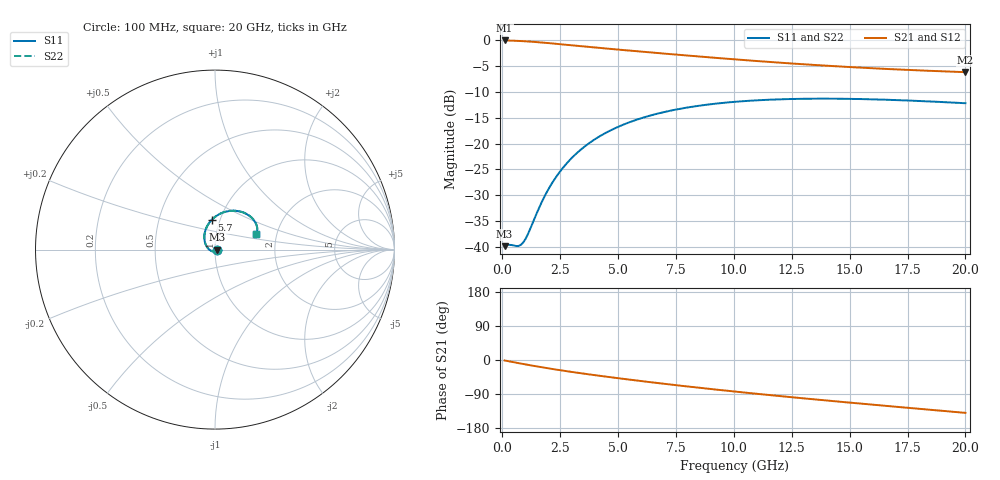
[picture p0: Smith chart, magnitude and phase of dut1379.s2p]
! Touchstone file exported from HFSS 2024.1.0
!  File:  C:/UserFiles/LocalFiles/RDL_TSV_Batchsim/temp_RDL_TSV_1379_1780400668.aedt
!  Generated:  07:59:44 PM Jun  2, 2026
!  Design:  RDL_TSV
!  Project:  temp_RDL_TSV_1379_1780400668
!  Setup:  Setup1
!  Solution:  Sweep
! Variables:
!  dtsv = 8.29um
!  hbump = 3um
!  htsv = 68.6um
!  ldown = 175.21um
!  lrdl = 352.72um
!  p = 40
!  p1 = 41.67um
!  rhole = 10um
!  subl = 1936.51um
!  t = 450um
!  tdown = 2.41um
!  trdl = 4.74um
!  viad = 10um
!  wdown = 14.94um
!  wrdl = 27.08um
!  xbump = 18um
# GHz S MA R 50.000000
! Terminal data exported
! Port[1] = TM1_1_T1
! Port[2] = TM1_4_T1
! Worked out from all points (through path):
!   200 points, 100 MHz to 20 GHz, reference 50 ohm
!   highest |S21| = -0.09 dB at 100 MHz (marker M1); lowest = -6.2 dB at 20 GHz (marker M2)
!   group delay of S21, straight-line fit = 18.5 ps
!   lowest |S11| = -39.8 dB at 100 MHz (marker M3), VSWR 1.02, Z = 51 - j0.105 ohm
!   |S11| at or under -10 dB: start of sweep to end of sweep
!   |S22| runs from -39.8 to -11.3 dB; largest |S21 - S12| = 1e-14
!   S11 on the Smith chart (normalised r, x): 100 MHz: 1.02, -0.00; 5.7 GHz: 0.91, +0.31; 20 GHz: 1.56, +0.29
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0.1  0.01021 -5.8  0.9895 -1.2  0.9895 -1.2  0.01021 -5.8
! Gamma 0 0 0 0
! Port Impedance 50 0 50 0
0.3  0.01052 -22.2  0.987 -3.6  0.987 -3.6  0.01051 -22.2
0.7  0.01025 -69.0  0.9794 -8.2  0.9794 -8.2  0.01024 -69.1
0.9  0.01104 -97.0  0.9741 -10.5  0.9741 -10.5  0.01104 -97.1
1.1  0.01325 -122.8  0.968 -12.7  0.968 -12.7  0.01325 -123.0
1.5  0.02156 -159.6  0.9534 -17.0  0.9534 -17.0  0.02159 -159.7
1.8  0.03008 -177.3  0.9412 -20.1  0.9412 -20.1  0.03014 -177.4
2.2  0.04325 165.6  0.9239 -24.1  0.9239 -24.1  0.04334 165.5
2.5  0.05395 155.5  0.9106 -27.0  0.9106 -27.0  0.05407 155.5
2.8  0.06505 146.9  0.8973 -29.7  0.8973 -29.7  0.0652 146.9
3.5  0.09145 130.6  0.8671 -35.9  0.8671 -35.9  0.09166 130.6
4  0.11 121.1  0.8465 -40.0  0.8465 -40.0  0.1103 121.1
4.5  0.1279 112.8  0.8267 -44.1  0.8267 -44.1  0.1282 112.8
5.7  0.1669 96.2  0.7824 -53.4  0.7824 -53.4  0.1673 96.2
6.8  0.1968 83.9  0.745 -61.5  0.745 -61.5  0.1973 83.9
8.3  0.2284 70.1  0.6982 -71.9  0.6982 -71.9  0.229 70.2
10.1  0.2535 56.9  0.6483 -83.7  0.6483 -83.7  0.2542 56.9
11.7  0.2659 47.4  0.6099 -93.5  0.6099 -93.5  0.2667 47.4
13.4  0.2711 39.1  0.5752 -103.4  0.5752 -103.4  0.2719 39.1
15  0.2701 32.7  0.5478 -112.4  0.5478 -112.4  0.2709 32.8
16.7  0.2643 27.3  0.5238 -121.8  0.5238 -121.8  0.2652 27.4
20  0.2451 20.9  0.4891 -139.5  0.4891 -139.5  0.2459 20.9
